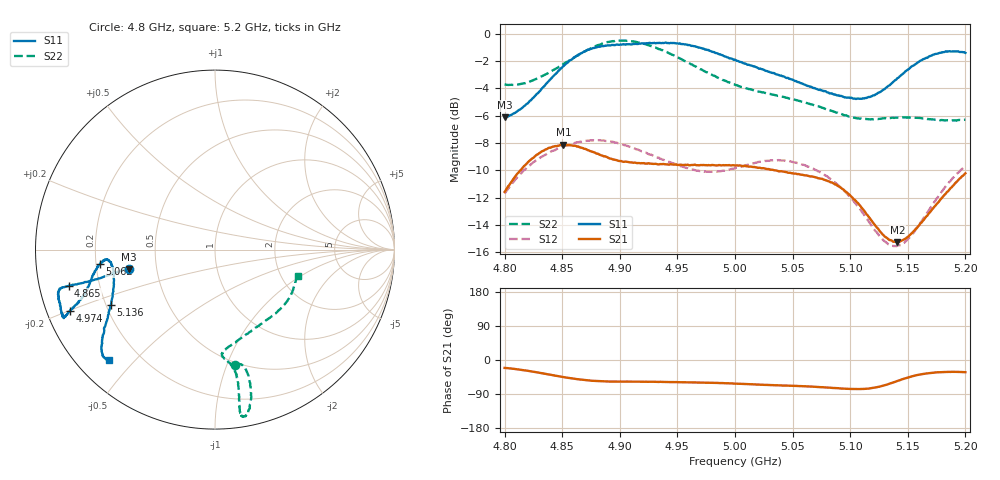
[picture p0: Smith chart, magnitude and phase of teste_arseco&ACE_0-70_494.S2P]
! Network Analyzer HP8722D
! Hewlett-Packard
! Data name: Linha & Wilkinson
! Saver's name: Rodrigo Anjos
! Comments: Teste da utilização de aquisição
! continua pelo VNA HP8722D
! Time and date: 8/5/2025 16:52
!  Frequency  S11  S21  S12  S22
# HZ  S  MA R 50
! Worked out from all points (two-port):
!   401 points, 4.8 GHz to 5.2 GHz, reference 50 ohm
!   highest |S21| = -8.11 dB at 4.851 GHz (marker M1); lowest = -15.2 dB at 5.141 GHz (marker M2)
!   |S21| within 3 dB of the highest: 4.804 GHz to 5.089 GHz (285.2 MHz wide, 5.77 % of centre); 5.189362 GHz to end of sweep
!   lowest |S11| = -6.1 dB at 4.8 GHz (marker M3), VSWR 2.95, Z = 17.1 - j4.92 ohm
!   |S11| at or under -10 dB: nowhere
!   |S22| runs from -6.4 to -0.5 dB; largest |S21 - S12| = 0.62
!   S11 on the Smith chart (normalised r, x): 4.8 GHz: 0.34, -0.10; 4.865 GHz: 0.09, -0.12; 4.974 GHz: 0.07, -0.20; 5.062 GHz: 0.22, -0.06; 5.136 GHz: 0.22, -0.24; 5.2 GHz: 0.09, -0.42
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4.8e9  0.4939 -167.3  0.2639 -20.9  0.2604 -142.0  0.6525 -80.1
4.822e9  0.5686 -167.0  0.3441 -29.6  0.3303 -145.4  0.6687 -76.3
4.851e9  0.7605 -165.9  0.393 -45.1  0.3867 -150.7  0.774 -75.3
4.865e9  0.8408 -166.1  0.3844 -51.3  0.4022 -152.9  0.8417 -76.1
4.867e9  0.8496 -166.0  0.383 -52.0  0.403 -153.2  0.8506 -76.3
4.898e9  0.9114 -163.2  0.3436 -57.0  0.398 -157.1  0.9427 -79.8
4.934e9  0.9246 -156.6  0.3327 -57.9  0.3518 -156.0  0.8779 -81.1
4.949e9  0.9222 -155.8  0.3322 -58.2  0.3329 -153.4  0.8252 -80.7
4.974e9  0.8748 -157.1  0.3305 -59.7  0.3134 -145.9  0.7272 -80.2
5e9  0.8038 -159.5  0.3295 -62.3  0.3222 -137.8  0.6504 -81.8
5.035e9  0.7127 -165.8  0.3166 -66.6  0.3445 -135.2  0.596 -86.0
5.062e9  0.6469 -172.8  0.3034 -69.6  0.3284 -137.4  0.5583 -84.0
5.067e9  0.6366 -173.5  0.3005 -70.3  0.3222 -137.9  0.5508 -82.6
5.084e9  0.6057 -174.7  0.2861 -73.5  0.2921 -139.4  0.5219 -75.9
5.099e9  0.5841 -172.0  0.2585 -76.3  0.2551 -139.6  0.4978 -67.2
5.116e9  0.5868 -164.1  0.2142 -75.5  0.2059 -135.0  0.4861 -54.8
5.134e9  0.6468 -153.1  0.1759 -62.6  0.1692 -118.3  0.491 -42.8
5.136e9  0.6584 -151.9  0.1752 -60.7  0.1677 -115.7  0.4924 -41.5
5.141e9  0.6879 -149.5  0.173 -55.2  0.1676 -109.1  0.4933 -38.7
5.153e9  0.7575 -144.7  0.1858 -43.8  0.1828 -94.5  0.4935 -32.6
5.171e9  0.8331 -139.4  0.2275 -33.7  0.2352 -81.6  0.4857 -24.7
5.2e9  0.8512 -133.8  0.3087 -32.2  0.3274 -77.8  0.4847 -17.7
